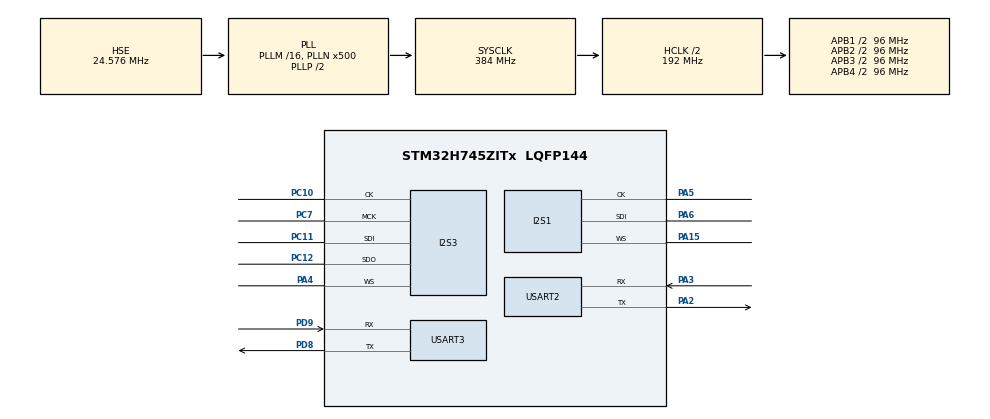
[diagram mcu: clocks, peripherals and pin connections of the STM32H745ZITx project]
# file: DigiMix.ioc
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CORTEX_M7.AccessPermission-Cortex_Memory_Protection_Unit_Region0_Settings=MPU_REGION_FULL_ACCESS
CORTEX_M7.BaseAddress-Cortex_Memory_Protection_Unit_Region0_Settings=0x30010000
CORTEX_M7.CPU_DCache=Enabled
CORTEX_M7.CPU_ICache=Enabled
CORTEX_M7.DisableExec-Cortex_Memory_Protection_Unit_Region0_Settings=MPU_INSTRUCTION_ACCESS_DISABLE
CORTEX_M7.Enable-Cortex_Memory_Protection_Unit_Region0_Settings=MPU_REGION_ENABLE
CORTEX_M7.IsBufferable-Cortex_Memory_Protection_Unit_Region0_Settings=MPU_ACCESS_BUFFERABLE
CORTEX_M7.MPU_Control=MPU_PRIVILEGED_DEFAULT
CORTEX_M7.Size-Cortex_Memory_Protection_Unit_Region0_Settings=MPU_REGION_SIZE_64KB
CortexM4.IPs=BDMA,CORTEX_M4\:I,DEBUG,DMA,FATFS_M4\:I,FREERTOS_M4\:I,GPIO,IWDG2\:I,MDMA,NVIC2\:I,OPENAMP_M4\:I,PDM2PCM_M4\:I,PWR,RCC,RESMGR_UTILITY,SYS_M4\:I,USB_DEVICE_M4\:I,USB_HOST_M4\:I,VREFBUF,WWDG2\:I
CortexM7.IPs=BDMA\:I,CORTEX_M7\:I,DEBUG\:I,DMA\:I,FATFS_M7\:I,FREERTOS_M7\:I,GPIO\:I,IWDG1\:I,MDMA\:I,NVIC1\:I,OPENAMP_M7\:I,PDM2PCM_M7\:I,PWR\:I,RCC\:I,RESMGR_UTILITY\:I,SYS\:I,USB_DEVICE_M7\:I,USB_HOST_M7\:I,VREFBUF\:I,WWDG1\:I,I2S3\:I,USART3\:I,TIM1\:I,I2S1\:I,USART2\:I
Dma.Request0=SPI3_RX
Dma.Request1=SPI3_TX
Dma.Request2=USART3_RX
Dma.Request3=USART3_TX
Dma.Request4=USART2_RX
Dma.Request5=USART2_TX
Dma.SPI3_RX.0.Direction=DMA_PERIPH_TO_MEMORY
Dma.SPI3_RX.0.EventEnable=DISABLE
Dma.SPI3_RX.0.FIFOMode=DMA_FIFOMODE_DISABLE
Dma.SPI3_RX.0.Instance=DMA1_Stream0
Dma.SPI3_RX.0.MemDataAlignment=DMA_MDATAALIGN_WORD
Dma.SPI3_RX.0.MemInc=DMA_MINC_ENABLE
Dma.SPI3_RX.0.Mode=DMA_CIRCULAR
Dma.SPI3_RX.0.PeriphDataAlignment=DMA_PDATAALIGN_WORD
Dma.SPI3_RX.0.PeriphInc=DMA_PINC_DISABLE
Dma.SPI3_RX.0.Polarity=HAL_DMAMUX_REQ_GEN_RISING
Dma.SPI3_RX.0.Priority=DMA_PRIORITY_VERY_HIGH
Dma.SPI3_RX.0.RequestNumber=1
Dma.SPI3_RX.0.SignalID=NONE
Dma.SPI3_RX.0.SyncEnable=DISABLE
Dma.SPI3_RX.0.SyncPolarity=HAL_DMAMUX_SYNC_NO_EVENT
Dma.SPI3_RX.0.SyncRequestNumber=1
Dma.SPI3_RX.0.SyncSignalID=NONE
Dma.SPI3_TX.1.Direction=DMA_MEMORY_TO_PERIPH
Dma.SPI3_TX.1.EventEnable=DISABLE
Dma.SPI3_TX.1.FIFOMode=DMA_FIFOMODE_DISABLE
Dma.SPI3_TX.1.Instance=DMA1_Stream1
Dma.SPI3_TX.1.MemDataAlignment=DMA_MDATAALIGN_WORD
Dma.SPI3_TX.1.MemInc=DMA_MINC_ENABLE
Dma.SPI3_TX.1.Mode=DMA_CIRCULAR
Dma.SPI3_TX.1.PeriphDataAlignment=DMA_PDATAALIGN_WORD
Dma.SPI3_TX.1.PeriphInc=DMA_PINC_DISABLE
Dma.SPI3_TX.1.Polarity=HAL_DMAMUX_REQ_GEN_RISING
Dma.SPI3_TX.1.Priority=DMA_PRIORITY_VERY_HIGH
Dma.SPI3_TX.1.RequestNumber=1
Dma.SPI3_TX.1.SignalID=NONE
Dma.SPI3_TX.1.SyncEnable=DISABLE
Dma.SPI3_TX.1.SyncPolarity=HAL_DMAMUX_SYNC_NO_EVENT
Dma.SPI3_TX.1.SyncRequestNumber=1
Dma.SPI3_TX.1.SyncSignalID=NONE
Dma.USART2_RX.4.Direction=DMA_PERIPH_TO_MEMORY
Dma.USART2_RX.4.EventEnable=DISABLE
Dma.USART2_RX.4.FIFOMode=DMA_FIFOMODE_DISABLE
Dma.USART2_RX.4.Instance=DMA2_Stream6
Dma.USART2_RX.4.MemDataAlignment=DMA_MDATAALIGN_BYTE
Dma.USART2_RX.4.MemInc=DMA_MINC_ENABLE
Dma.USART2_RX.4.Mode=DMA_CIRCULAR
Dma.USART2_RX.4.PeriphDataAlignment=DMA_PDATAALIGN_BYTE
Dma.USART2_RX.4.PeriphInc=DMA_PINC_DISABLE
Dma.USART2_RX.4.Polarity=HAL_DMAMUX_REQ_GEN_RISING
Dma.USART2_RX.4.Priority=DMA_PRIORITY_VERY_HIGH
Dma.USART2_RX.4.RequestNumber=1
Dma.USART2_RX.4.SignalID=NONE
Dma.USART2_RX.4.SyncEnable=DISABLE
Dma.USART2_RX.4.SyncPolarity=HAL_DMAMUX_SYNC_NO_EVENT
Dma.USART2_RX.4.SyncRequestNumber=1
Dma.USART2_RX.4.SyncSignalID=NONE
Dma.USART2_TX.5.Direction=DMA_MEMORY_TO_PERIPH
Dma.USART2_TX.5.EventEnable=DISABLE
Dma.USART2_TX.5.FIFOMode=DMA_FIFOMODE_DISABLE
Dma.USART2_TX.5.Instance=DMA2_Stream7
Dma.USART2_TX.5.MemDataAlignment=DMA_MDATAALIGN_BYTE
Dma.USART2_TX.5.MemInc=DMA_MINC_ENABLE
Dma.USART2_TX.5.Mode=DMA_CIRCULAR
Dma.USART2_TX.5.PeriphDataAlignment=DMA_PDATAALIGN_BYTE
Dma.USART2_TX.5.PeriphInc=DMA_PINC_DISABLE
Dma.USART2_TX.5.Polarity=HAL_DMAMUX_REQ_GEN_RISING
Dma.USART2_TX.5.Priority=DMA_PRIORITY_VERY_HIGH
Dma.USART2_TX.5.RequestNumber=1
Dma.USART2_TX.5.SignalID=NONE
Dma.USART2_TX.5.SyncEnable=DISABLE
Dma.USART2_TX.5.SyncPolarity=HAL_DMAMUX_SYNC_NO_EVENT
Dma.USART2_TX.5.SyncRequestNumber=1
Dma.USART2_TX.5.SyncSignalID=NONE
Dma.USART3_RX.2.Direction=DMA_PERIPH_TO_MEMORY
Dma.USART3_RX.2.EventEnable=DISABLE
Dma.USART3_RX.2.FIFOMode=DMA_FIFOMODE_DISABLE
Dma.USART3_RX.2.Instance=DMA1_Stream5
Dma.USART3_RX.2.MemDataAlignment=DMA_MDATAALIGN_BYTE
Dma.USART3_RX.2.MemInc=DMA_MINC_ENABLE
Dma.USART3_RX.2.Mode=DMA_CIRCULAR
Dma.USART3_RX.2.PeriphDataAlignment=DMA_PDATAALIGN_BYTE
Dma.USART3_RX.2.PeriphInc=DMA_PINC_DISABLE
Dma.USART3_RX.2.Polarity=HAL_DMAMUX_REQ_GEN_RISING
Dma.USART3_RX.2.Priority=DMA_PRIORITY_VERY_HIGH
Dma.USART3_RX.2.RequestNumber=1
Dma.USART3_RX.2.SignalID=NONE
Dma.USART3_RX.2.SyncEnable=DISABLE
Dma.USART3_RX.2.SyncPolarity=HAL_DMAMUX_SYNC_NO_EVENT
Dma.USART3_RX.2.SyncRequestNumber=1
Dma.USART3_RX.2.SyncSignalID=NONE
Dma.USART3_TX.3.Direction=DMA_MEMORY_TO_PERIPH
Dma.USART3_TX.3.EventEnable=DISABLE
Dma.USART3_TX.3.FIFOMode=DMA_FIFOMODE_DISABLE
Dma.USART3_TX.3.Instance=DMA1_Stream4
Dma.USART3_TX.3.MemDataAlignment=DMA_MDATAALIGN_BYTE
Dma.USART3_TX.3.MemInc=DMA_MINC_ENABLE
Dma.USART3_TX.3.Mode=DMA_NORMAL
Dma.USART3_TX.3.PeriphDataAlignment=DMA_PDATAALIGN_BYTE
Dma.USART3_TX.3.PeriphInc=DMA_PINC_DISABLE
Dma.USART3_TX.3.Polarity=HAL_DMAMUX_REQ_GEN_RISING
Dma.USART3_TX.3.Priority=DMA_PRIORITY_VERY_HIGH
Dma.USART3_TX.3.RequestNumber=1
Dma.USART3_TX.3.SignalID=NONE
Dma.USART3_TX.3.SyncEnable=DISABLE
Dma.USART3_TX.3.SyncPolarity=HAL_DMAMUX_SYNC_NO_EVENT
Dma.USART3_TX.3.SyncRequestNumber=1
Dma.USART3_TX.3.SyncSignalID=NONE
FREERTOS_M7.BinarySemaphores01=i2sHalfFull,Dynamic,NULL;i2sFull,Dynamic,NULL;uartFull,Dynamic,NULL
FREERTOS_M7.Queues01=uartQueue,16,uint16_t,0,Dynamic,NULL,NULL
FREERTOS_M7.Tasks01=filterTask,24,128,setFilterTask,Default,NULL,Dynamic,NULL,NULL;processData,32,256,processDataTask,Default,NULL,Dynamic,NULL,NULL
FREERTOS_M7.configENABLE_FPU=1
I2S1.ErrorAudioFreq=0.0 %
I2S1.Instance=SPI$Index
I2S1.RealAudioFreq=8.0 KHz
I2S3.AudioFreq=I2S_AUDIOFREQ_48K
I2S3.DataFormat=I2S_DATAFORMAT_16B_EXTENDED
I2S3.ErrorAudioFreq=0.0 %
I2S3.Instance=SPI$Index
I2S3.RealAudioFreq=48.0 KHz
Mcu.Family=STM32H7
Mcu.Name=STM32H745ZITx
Mcu.Package=LQFP144
NVIC1.DMA1_Stream0_IRQn=true\:5\:0\:false\:false\:true\:true\:false\:true\:true
NVIC1.DMA1_Stream1_IRQn=true\:5\:0\:false\:false\:true\:true\:false\:true\:true
NVIC1.DMA1_Stream4_IRQn=true\:5\:0\:false\:false\:true\:false\:false\:true\:true
NVIC1.DMA1_Stream5_IRQn=true\:5\:0\:false\:false\:true\:false\:false\:true\:true
NVIC1.DMA2_Stream6_IRQn=true\:0\:0\:false\:false\:true\:false\:false\:true\:true
NVIC1.DMA2_Stream7_IRQn=true\:0\:0\:false\:false\:true\:false\:false\:true\:true
NVIC1.PriorityGroup=NVIC_PRIORITYGROUP_4
NVIC1.TIM1_UP_IRQn=true\:15\:0\:false\:false\:true\:false\:false\:true\:true
NVIC1.TimeBase=TIM1_UP_IRQn
NVIC1.TimeBaseIP=TIM1
NVIC2.PriorityGroup=NVIC_PRIORITYGROUP_4
PA15\ (JTDI).Mode=Half_Duplex_Slave_Rx
PA15\ (JTDI).PinAttribute=CortexM7
PA15\ (JTDI).Signal=I2S1_WS
PA2.Mode=Asynchronous
PA2.PinAttribute=CortexM7
PA2.Signal=USART2_TX
PA3.Mode=Asynchronous
PA3.PinAttribute=CortexM7
PA3.Signal=USART2_RX
PA4.Mode=Full_Duplex_Master
PA4.PinAttribute=CortexM7
PA4.Signal=I2S3_WS
PA5.Mode=Half_Duplex_Slave_Rx
PA5.PinAttribute=CortexM7
PA5.Signal=I2S1_CK
PA6.Mode=Half_Duplex_Slave_Rx
PA6.PinAttribute=CortexM7
PA6.Signal=I2S1_SDI
PC10.Mode=Full_Duplex_Master
PC10.PinAttribute=CortexM7
PC10.Signal=I2S3_CK
PC11.Mode=Full_Duplex_Master
PC11.PinAttribute=CortexM7
PC11.Signal=I2S3_SDI
PC12.Mode=Full_Duplex_Master
PC12.PinAttribute=CortexM7
PC12.Signal=I2S3_SDO
PC7.Mode=Master_Clock_Activated
PC7.PinAttribute=CortexM7
PC7.Signal=I2S3_MCK
PD8.Mode=Asynchronous
PD8.PinAttribute=CortexM7
PD8.Signal=USART3_TX
PD9.Mode=Asynchronous
PD9.PinAttribute=CortexM7
PD9.Signal=USART3_RX
PH0-OSC_IN\ (PH0).Mode=HSE-External-Clock-Source
PH0-OSC_IN\ (PH0).PinAttribute=Free
PH0-OSC_IN\ (PH0).Signal=RCC_OSC_IN
ProjectManager.HeapSize=M4-0x200,M7-0x200
ProjectManager.StackSize=M4-0x400,M7-0x400
ProjectManager.TargetToolchain=STM32CubeIDE
RCC.ADCFreq_Value=24576000
RCC.APB1Freq_Value=96000000
RCC.APB2Freq_Value=96000000
RCC.APB3Freq_Value=96000000
RCC.APB4Freq_Value=96000000
RCC.CortexFreq_Value=384000000
RCC.D1PPRE=RCC_APB3_DIV2
RCC.D2PPRE1=RCC_APB1_DIV2
RCC.D2PPRE2=RCC_APB2_DIV2
RCC.D3PPRE=RCC_APB4_DIV2
RCC.DIVM1=16
RCC.DIVM2=16
RCC.DIVN1=500
RCC.DIVN2=128
RCC.DIVP2=8
RCC.DIVQ2=8
RCC.HCLKFreq_Value=192000000
RCC.HPRE=RCC_HCLK_DIV2
RCC.HSE_VALUE=24576000
RCC.PLLSourceVirtual=RCC_PLLSOURCE_HSE
RCC.SPI123CLockSelection=RCC_SPI123CLKSOURCE_PLL2
RCC.SYSCLKFreq_VALUE=384000000
RCC.SYSCLKSource=RCC_SYSCLKSOURCE_PLLCLK
RCC.USART234578CLockSelection=RCC_USART234578CLKSOURCE_CSI
RCC.USBFreq_Value=384000000
SYS.userName=SYS_M7
USART2.VirtualMode-Asynchronous=VM_ASYNC
USART3.VirtualMode-Asynchronous=VM_ASYNC
VP_FREERTOS_M7_VS_CMSIS_V2.Mode=CMSIS_V2
VP_SYS_VS_tim1.Mode=TIM1
board=custom

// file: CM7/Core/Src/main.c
/* USER CODE BEGIN Header */
	/**
	  ******************************************************************************
	  * @file           : main.c
	  * @brief          : Main program body
	  ******************************************************************************
	  * @attention
	  *
	  * Copyright (c) 2024 STMicroelectronics.
	  * All rights reserved.
	  *
	  * This software is licensed under terms that can be found in the LICENSE file
	  * in the root directory of this software component.
	  * If no LICENSE file comes with this software, it is provided AS-IS.
	  *
	  ******************************************************************************
	  */
/* USER CODE END Header */
#include "main.h"
#include "cmsis_os.h"

/* USER CODE BEGIN Includes */
	#include <string.h>
	#include <math.h>
	#include <stdlib.h>
	#include <stdarg.h>
	#include <stdbool.h>

	#include "IFX_PeakingFilter.h"
/* USER CODE END Includes */

/* USER CODE BEGIN PTD */
	#define FLOAT_TO_INT24(value) ((int32_t)((value) * 8388608.0f))  // Scale the float value to 16-bit range
	#define FLOAT_TO_INT16(value) ((int16_t)((value) * 32767.0f))  // Scale the float value to 16-bit range
	#define INT16_TO_FLOAT(value) ((float)(value) / 32767.0f)       // Convert from int16_t to float
	#define INT24_TO_FLOAT(value) ((float)(value) / 8388608.0f) // 24-bit to float

	#define ARRAY_LEN(x)            (sizeof(x) / sizeof((x)[0]))

	#define SAMPLE_RATE_HZ 48000.0f

	//192
	#define BUFFER_SIZE 192
/* USER CODE END PTD */

/* USER CODE BEGIN PD */

	#ifndef HSEM_ID_0
	#define HSEM_ID_0 (0U) /* HW semaphore 0*/
	#endif

/* USER CODE END PD */

I2S_HandleTypeDef hi2s1;
I2S_HandleTypeDef hi2s3;
DMA_HandleTypeDef hdma_spi3_rx;
DMA_HandleTypeDef hdma_spi3_tx;

UART_HandleTypeDef huart2;
UART_HandleTypeDef huart3;
DMA_HandleTypeDef hdma_usart2_rx;
DMA_HandleTypeDef hdma_usart2_tx;
DMA_HandleTypeDef hdma_usart3_rx;
DMA_HandleTypeDef hdma_usart3_tx;

/* Definitions for filterTask */
osThreadId_t filterTaskHandle;
const osThreadAttr_t filterTask_attributes = {
  .name = "filterTask",
  .stack_size = 128 * 4,
  .priority = (osPriority_t) osPriorityNormal,
};
/* Definitions for processData */
osThreadId_t processDataHandle;
const osThreadAttr_t processData_attributes = {
  .name = "processData",
  .stack_size = 256 * 4,
  .priority = (osPriority_t) osPriorityAboveNormal,
};
/* Definitions for uartQueue */
osMessageQueueId_t uartQueueHandle;
const osMessageQueueAttr_t uartQueue_attributes = {
  .name = "uartQueue"
};
/* Definitions for i2sHalfFull */
osSemaphoreId_t i2sHalfFullHandle;
const osSemaphoreAttr_t i2sHalfFull_attributes = {
  .name = "i2sHalfFull"
};
/* Definitions for i2sFull */
osSemaphoreId_t i2sFullHandle;
const osSemaphoreAttr_t i2sFull_attributes = {
  .name = "i2sFull"
};
/* Definitions for uartFull */
osSemaphoreId_t uartFullHandle;
const osSemaphoreAttr_t uartFull_attributes = {
  .name = "uartFull"
};
/* USER CODE BEGIN PV */
	typedef struct {
		uint16_t centerFrequency;
		float qFactor;
		float gain;
	} FilterParams;

	// CH1 & CH2
	__attribute__ ((section(".rxBuffer1"), used)) __attribute__ ((aligned (32))) uint16_t adcData[BUFFER_SIZE*2] = {0};
	__attribute__ ((section(".txBuffer1"), used)) __attribute__ ((aligned (32))) uint16_t dacData[BUFFER_SIZE*2] = {0};

	__attribute__ ((section(".txUARTBuffer1"), used)) __attribute__ ((aligned (32))) uint16_t uartBuffer[BUFFER_SIZE*2] = {0};

	// CH3 & CH4
	//__attribute__ ((section(".rxBuffer2"), used)) __attribute__ ((aligned (32))) uint16_t adcData2[BUFFER_SIZE*2] = {0};
	//__attribute__ ((section(".txBuffer2"), used)) __attribute__ ((aligned (32))) uint16_t dacData2[BUFFER_SIZE*2] = {0};

	// UART
	__attribute__ ((section(".rxUARTBuffer"), used)) __attribute__ ((aligned (32))) uint8_t uartData[65] = {0};

	static volatile uint16_t *inBufPtr;
	static volatile uint16_t *outBufPtr = &dacData[0];

	uint8_t dataReadyFlag;

	float vch1 = 1.0f;
	float vch2 = 1.0f;
	float vmaster = 1.0f;

	IFX_PeakingFilter filt1;
	IFX_PeakingFilter filt2;
	IFX_PeakingFilter filt3;
	IFX_PeakingFilter filt4;
	IFX_PeakingFilter filt5;
	IFX_PeakingFilter filt6;

/* USER CODE END PV */

void SystemClock_Config(void);
void PeriphCommonClock_Config(void);
static void MPU_Config(void);
static void MX_GPIO_Init(void);
static void MX_DMA_Init(void);
static void MX_I2S3_Init(void);
static void MX_USART3_UART_Init(void);
static void MX_I2S1_Init(void);
static void MX_USART2_UART_Init(void);
void setFilterTask(void *argument);
void processDataTask(void *argument);

/* USER CODE BEGIN PFP */
	void UART_Printf(const char* fmt, ...);
	void processData();
/* USER CODE END PFP */

int main(void)
{
/* USER CODE BEGIN Boot_Mode_Sequence_0 */
	  int32_t timeout;
/* USER CODE END Boot_Mode_Sequence_0 */

  /* MPU Configuration--------------------------------------------------------*/
  MPU_Config();

  /* Enable I-Cache---------------------------------------------------------*/
  SCB_EnableICache();

  /* Enable D-Cache---------------------------------------------------------*/
  SCB_EnableDCache();

/* USER CODE BEGIN Boot_Mode_Sequence_1 */
	  /* Wait until CPU2 boots and enters in stop mode or timeout*/
	  timeout = 0xFFFF;
	  while((__HAL_RCC_GET_FLAG(RCC_FLAG_D2CKRDY) != RESET) && (timeout-- > 0));
	  if ( timeout < 0 )
	  {
	  Error_Handler();
	  }
/* USER CODE END Boot_Mode_Sequence_1 */
  /* MCU Configuration--------------------------------------------------------*/

  /* Reset of all peripherals, Initializes the Flash interface and the Systick. */
  HAL_Init();

  /* Configure the system clock */
  SystemClock_Config();

/* Configure the peripherals common clocks */
  PeriphCommonClock_Config();
/* USER CODE BEGIN Boot_Mode_Sequence_2 */
	/* When system initialization is finished, Cortex-M7 will release Cortex-M4 by means of
	HSEM notification */
	/*HW semaphore Clock enable*/
	__HAL_RCC_HSEM_CLK_ENABLE();
	/*Take HSEM */
	HAL_HSEM_FastTake(HSEM_ID_0);
	/*Release HSEM in order to notify the CPU2(CM4)*/
	HAL_HSEM_Release(HSEM_ID_0,0);
	/* wait until CPU2 wakes up from stop mode */
	timeout = 0xFFFF;
	while((__HAL_RCC_GET_FLAG(RCC_FLAG_D2CKRDY) == RESET) && (timeout-- > 0));
	if ( timeout < 0 )
	{
	Error_Handler();
	}
/* USER CODE END Boot_Mode_Sequence_2 */

  /* Initialize all configured peripherals */
  MX_GPIO_Init();
  MX_DMA_Init();
  MX_I2S3_Init();
  MX_USART3_UART_Init();
  MX_I2S1_Init();
  MX_USART2_UART_Init();
  /* USER CODE BEGIN 2 */
	  memset(dacData, 0, sizeof(dacData));

	  IFX_PeakingFilter_Init(&filt1, SAMPLE_RATE_HZ);
	  IFX_PeakingFilter_Init(&filt2, SAMPLE_RATE_HZ);
	  IFX_PeakingFilter_Init(&filt3, SAMPLE_RATE_HZ);
	  //  IFX_PeakingFilter_Init(&filt4, SAMPLE_RATE_HZ);
	  //  IFX_PeakingFilter_Init(&filt5, SAMPLE_RATE_HZ);

	  UART_Printf("Readyy!\r\n");

	  // CH1
	  IFX_PeakingFilter_SetParameters(&filt1, 1.0f, 1.0f, 1.0f);
	  IFX_PeakingFilter_SetParameters(&filt2, 1.0f, 1.0f, 1.0f);
	  IFX_PeakingFilter_SetParameters(&filt3, 1.0f, 1.0f, 1.0f);

	  // CH2
	  IFX_PeakingFilter_SetParameters(&filt4, 1.0f, 1.0f, 1.0f);
	  IFX_PeakingFilter_SetParameters(&filt5, 1.0f, 1.0f, 1.0f);
	  IFX_PeakingFilter_SetParameters(&filt6, 1.0f, 1.0f, 1.0f);

	  if (HAL_I2SEx_TransmitReceive_DMA(&hi2s3, (uint16_t *) dacData, (uint16_t *) adcData, BUFFER_SIZE) != HAL_OK) {
		UART_Printf("I2S Full-Duplex DMA initialization failed\n");
		Error_Handler();
	  }

	  if (HAL_UART_Receive_DMA(&huart2, uartData, sizeof(uartData)) != HAL_OK) {
		UART_Printf("UART DMA Receive initialization failed\n");
		Error_Handler();
	  }

//	  if (HAL_UART_Transmit_DMA(&huart3, (uint8_t *)uartBuffer, sizeof(uartBuffer)) != HAL_OK) {
//	    UART_Printf("UART DMA Transmit initialization failed\n");
//		Error_Handler();
//	  }

  /* USER CODE END 2 */

  /* Init scheduler */
  osKernelInitialize();

  /* Create the semaphores(s) */
  /* creation of i2sHalfFull */
  i2sHalfFullHandle = osSemaphoreNew(1, 1, &i2sHalfFull_attributes);

  /* creation of i2sFull */
  i2sFullHandle = osSemaphoreNew(1, 1, &i2sFull_attributes);

  /* creation of uartFull */
  uartFullHandle = osSemaphoreNew(1, 1, &uartFull_attributes);

  /* USER CODE BEGIN RTOS_SEMAPHORES */
	  /* add semaphores, ... */
	  //osSemaphoreAcquire(uartFullHandle, 0);
	  //osSemaphoreAcquire(i2sHalfFullHandle, 0);
	  //osSemaphoreAcquire(i2sFullHandle, 0);
  /* USER CODE END RTOS_SEMAPHORES */

  /* Create the queue(s) */
  /* creation of uartQueue */
  uartQueueHandle = osMessageQueueNew (16, sizeof(uint16_t), &uartQueue_attributes);

  /* Create the thread(s) */
  /* creation of filterTask */
  filterTaskHandle = osThreadNew(setFilterTask, NULL, &filterTask_attributes);

  /* creation of processData */
  processDataHandle = osThreadNew(processDataTask, NULL, &processData_attributes);

  /* Start scheduler */
  osKernelStart();
  /* We should never get here as control is now taken by the scheduler */
  /* Infinite loop */
	  while (1)
	  {

	  }
}

void SystemClock_Config(void)
{
  RCC_OscInitTypeDef RCC_OscInitStruct = {0};
  RCC_ClkInitTypeDef RCC_ClkInitStruct = {0};

  /** Supply configuration update enable
  */
  HAL_PWREx_ConfigSupply(PWR_DIRECT_SMPS_SUPPLY);

  /** Configure the main internal regulator output voltage
  */
  __HAL_PWR_VOLTAGESCALING_CONFIG(PWR_REGULATOR_VOLTAGE_SCALE1);

  while(!__HAL_PWR_GET_FLAG(PWR_FLAG_VOSRDY)) {}

  /** Initializes the RCC Oscillators according to the specified parameters
  * in the RCC_OscInitTypeDef structure.
  */
  RCC_OscInitStruct.OscillatorType = RCC_OSCILLATORTYPE_CSI|RCC_OSCILLATORTYPE_HSE;
  RCC_OscInitStruct.HSEState = RCC_HSE_BYPASS;
  RCC_OscInitStruct.CSIState = RCC_CSI_ON;
  RCC_OscInitStruct.CSICalibrationValue = RCC_CSICALIBRATION_DEFAULT;
  RCC_OscInitStruct.PLL.PLLState = RCC_PLL_ON;
  RCC_OscInitStruct.PLL.PLLSource = RCC_PLLSOURCE_HSE;
  RCC_OscInitStruct.PLL.PLLM = 16;
  RCC_OscInitStruct.PLL.PLLN = 500;
  RCC_OscInitStruct.PLL.PLLP = 2;
  RCC_OscInitStruct.PLL.PLLQ = 2;
  RCC_OscInitStruct.PLL.PLLR = 2;
  RCC_OscInitStruct.PLL.PLLRGE = RCC_PLL1VCIRANGE_0;
  RCC_OscInitStruct.PLL.PLLVCOSEL = RCC_PLL1VCOWIDE;
  RCC_OscInitStruct.PLL.PLLFRACN = 0;
  if (HAL_RCC_OscConfig(&RCC_OscInitStruct) != HAL_OK)
  {
    Error_Handler();
  }

  /** Initializes the CPU, AHB and APB buses clocks
  */
  RCC_ClkInitStruct.ClockType = RCC_CLOCKTYPE_HCLK|RCC_CLOCKTYPE_SYSCLK
                              |RCC_CLOCKTYPE_PCLK1|RCC_CLOCKTYPE_PCLK2
                              |RCC_CLOCKTYPE_D3PCLK1|RCC_CLOCKTYPE_D1PCLK1;
  RCC_ClkInitStruct.SYSCLKSource = RCC_SYSCLKSOURCE_PLLCLK;
  RCC_ClkInitStruct.SYSCLKDivider = RCC_SYSCLK_DIV1;
  RCC_ClkInitStruct.AHBCLKDivider = RCC_HCLK_DIV2;
  RCC_ClkInitStruct.APB3CLKDivider = RCC_APB3_DIV2;
  RCC_ClkInitStruct.APB1CLKDivider = RCC_APB1_DIV2;
  RCC_ClkInitStruct.APB2CLKDivider = RCC_APB2_DIV2;
  RCC_ClkInitStruct.APB4CLKDivider = RCC_APB4_DIV2;

  if (HAL_RCC_ClockConfig(&RCC_ClkInitStruct, FLASH_LATENCY_2) != HAL_OK)
  {
    Error_Handler();
  }
}

void PeriphCommonClock_Config(void)
{
  RCC_PeriphCLKInitTypeDef PeriphClkInitStruct = {0};

  /** Initializes the peripherals clock
  */
  PeriphClkInitStruct.PeriphClockSelection = RCC_PERIPHCLK_SPI3|RCC_PERIPHCLK_SPI1;
  PeriphClkInitStruct.PLL2.PLL2M = 16;
  PeriphClkInitStruct.PLL2.PLL2N = 128;
  PeriphClkInitStruct.PLL2.PLL2P = 8;
  PeriphClkInitStruct.PLL2.PLL2Q = 8;
  PeriphClkInitStruct.PLL2.PLL2R = 2;
  PeriphClkInitStruct.PLL2.PLL2RGE = RCC_PLL2VCIRANGE_0;
  PeriphClkInitStruct.PLL2.PLL2VCOSEL = RCC_PLL2VCOWIDE;
  PeriphClkInitStruct.PLL2.PLL2FRACN = 0;
  PeriphClkInitStruct.Spi123ClockSelection = RCC_SPI123CLKSOURCE_PLL2;
  if (HAL_RCCEx_PeriphCLKConfig(&PeriphClkInitStruct) != HAL_OK)
  {
    Error_Handler();
  }
}

static void MX_I2S1_Init(void)
{

  hi2s1.Instance = SPI1;
  hi2s1.Init.Mode = I2S_MODE_SLAVE_RX;
  hi2s1.Init.Standard = I2S_STANDARD_PHILIPS;
  hi2s1.Init.DataFormat = I2S_DATAFORMAT_16B;
  hi2s1.Init.MCLKOutput = I2S_MCLKOUTPUT_DISABLE;
  hi2s1.Init.AudioFreq = I2S_AUDIOFREQ_8K;
  hi2s1.Init.CPOL = I2S_CPOL_LOW;
  hi2s1.Init.FirstBit = I2S_FIRSTBIT_MSB;
  hi2s1.Init.WSInversion = I2S_WS_INVERSION_DISABLE;
  hi2s1.Init.Data24BitAlignment = I2S_DATA_24BIT_ALIGNMENT_RIGHT;
  hi2s1.Init.MasterKeepIOState = I2S_MASTER_KEEP_IO_STATE_DISABLE;
  if (HAL_I2S_Init(&hi2s1) != HAL_OK)
  {
    Error_Handler();
  }

}

static void MX_I2S3_Init(void)
{

  hi2s3.Instance = SPI3;
  hi2s3.Init.Mode = I2S_MODE_MASTER_FULLDUPLEX;
  hi2s3.Init.Standard = I2S_STANDARD_PHILIPS;
  hi2s3.Init.DataFormat = I2S_DATAFORMAT_16B_EXTENDED;
  hi2s3.Init.MCLKOutput = I2S_MCLKOUTPUT_ENABLE;
  hi2s3.Init.AudioFreq = I2S_AUDIOFREQ_48K;
  hi2s3.Init.CPOL = I2S_CPOL_LOW;
  hi2s3.Init.FirstBit = I2S_FIRSTBIT_MSB;
  hi2s3.Init.WSInversion = I2S_WS_INVERSION_DISABLE;
  hi2s3.Init.Data24BitAlignment = I2S_DATA_24BIT_ALIGNMENT_RIGHT;
  hi2s3.Init.MasterKeepIOState = I2S_MASTER_KEEP_IO_STATE_DISABLE;
  if (HAL_I2S_Init(&hi2s3) != HAL_OK)
  {
    Error_Handler();
  }

}

static void MX_USART2_UART_Init(void)
{

  huart2.Instance = USART2;
  huart2.Init.BaudRate = 115200;
  huart2.Init.WordLength = UART_WORDLENGTH_8B;
  huart2.Init.StopBits = UART_STOPBITS_1;
  huart2.Init.Parity = UART_PARITY_NONE;
  huart2.Init.Mode = UART_MODE_TX_RX;
  huart2.Init.HwFlowCtl = UART_HWCONTROL_NONE;
  huart2.Init.OverSampling = UART_OVERSAMPLING_16;
  huart2.Init.OneBitSampling = UART_ONE_BIT_SAMPLE_DISABLE;
  huart2.Init.ClockPrescaler = UART_PRESCALER_DIV1;
  huart2.AdvancedInit.AdvFeatureInit = UART_ADVFEATURE_NO_INIT;
  if (HAL_UART_Init(&huart2) != HAL_OK)
  {
    Error_Handler();
  }
  if (HAL_UARTEx_SetTxFifoThreshold(&huart2, UART_TXFIFO_THRESHOLD_1_8) != HAL_OK)
  {
    Error_Handler();
  }
  if (HAL_UARTEx_SetRxFifoThreshold(&huart2, UART_RXFIFO_THRESHOLD_1_8) != HAL_OK)
  {
    Error_Handler();
  }
  if (HAL_UARTEx_DisableFifoMode(&huart2) != HAL_OK)
  {
    Error_Handler();
  }

}

static void MX_USART3_UART_Init(void)
{

  huart3.Instance = USART3;
  huart3.Init.BaudRate = 115200;
  huart3.Init.WordLength = UART_WORDLENGTH_8B;
  huart3.Init.StopBits = UART_STOPBITS_1;
  huart3.Init.Parity = UART_PARITY_NONE;
  huart3.Init.Mode = UART_MODE_TX_RX;
  huart3.Init.HwFlowCtl = UART_HWCONTROL_NONE;
  huart3.Init.OverSampling = UART_OVERSAMPLING_16;
  huart3.Init.OneBitSampling = UART_ONE_BIT_SAMPLE_DISABLE;
  huart3.Init.ClockPrescaler = UART_PRESCALER_DIV1;
  huart3.AdvancedInit.AdvFeatureInit = UART_ADVFEATURE_NO_INIT;
  if (HAL_UART_Init(&huart3) != HAL_OK)
  {
    Error_Handler();
  }
  if (HAL_UARTEx_SetTxFifoThreshold(&huart3, UART_TXFIFO_THRESHOLD_1_8) != HAL_OK)
  {
    Error_Handler();
  }
  if (HAL_UARTEx_SetRxFifoThreshold(&huart3, UART_RXFIFO_THRESHOLD_1_8) != HAL_OK)
  {
    Error_Handler();
  }
  if (HAL_UARTEx_DisableFifoMode(&huart3) != HAL_OK)
  {
    Error_Handler();
  }

}

static void MX_DMA_Init(void)
{

  /* DMA controller clock enable */
  __HAL_RCC_DMA1_CLK_ENABLE();
  __HAL_RCC_DMA2_CLK_ENABLE();

  /* DMA interrupt init */
  /* DMA1_Stream0_IRQn interrupt configuration */
  HAL_NVIC_SetPriority(DMA1_Stream0_IRQn, 5, 0);
  HAL_NVIC_EnableIRQ(DMA1_Stream0_IRQn);
  /* DMA1_Stream1_IRQn interrupt configuration */
  HAL_NVIC_SetPriority(DMA1_Stream1_IRQn, 5, 0);
  HAL_NVIC_EnableIRQ(DMA1_Stream1_IRQn);
  /* DMA1_Stream4_IRQn interrupt configuration */
  HAL_NVIC_SetPriority(DMA1_Stream4_IRQn, 5, 0);
  HAL_NVIC_EnableIRQ(DMA1_Stream4_IRQn);
  /* DMA1_Stream5_IRQn interrupt configuration */
  HAL_NVIC_SetPriority(DMA1_Stream5_IRQn, 5, 0);
  HAL_NVIC_EnableIRQ(DMA1_Stream5_IRQn);
  /* DMA2_Stream6_IRQn interrupt configuration */
  HAL_NVIC_SetPriority(DMA2_Stream6_IRQn, 0, 0);
  HAL_NVIC_EnableIRQ(DMA2_Stream6_IRQn);
  /* DMA2_Stream7_IRQn interrupt configuration */
  HAL_NVIC_SetPriority(DMA2_Stream7_IRQn, 0, 0);
  HAL_NVIC_EnableIRQ(DMA2_Stream7_IRQn);

}

static void MX_GPIO_Init(void)
{

  /* GPIO Ports Clock Enable */
  __HAL_RCC_GPIOA_CLK_ENABLE();
  __HAL_RCC_GPIOD_CLK_ENABLE();
  __HAL_RCC_GPIOC_CLK_ENABLE();

}

/* USER CODE BEGIN 4 */
	void UART_Printf(const char* fmt, ...) {
	  char buff[256];
	  va_list args;
	  va_start(args, fmt);
	  vsnprintf(buff, sizeof(buff), fmt, args);
	  HAL_UART_Transmit(&huart3, (uint8_t*)buff, strlen(buff), HAL_MAX_DELAY);
	  va_end(args);
	}

	void HAL_UART_RxCpltCallback(UART_HandleTypeDef *huart) {
		UART_Printf("callback");
		HAL_UART_Transmit(&huart3, (uint8_t*)uartData, sizeof(uartData), HAL_MAX_DELAY);
		if (uartData[0] == 'f') {
		  FilterParams newParams = {0.0f, 0.0f, 0.0f};
		  uint8_t channel = 0, filter = 0, freq = 0;

		  sscanf(uartData, "%c,%d,%d,%d,%f,%f", NULL, &channel, &filter, &newParams.centerFrequency, &newParams.gain, &newParams.qFactor);
		  //sscanf(uartData, "%c,%f,%f,%f", NULL, &newParams.centerFrequency, &newParams.qFactor, &newParams.gain);

		  newParams.gain = powf(10.0f, newParams.gain / 20.0f);
		  char printBuffer[64];
		  snprintf(printBuffer, sizeof(printBuffer), "CH: %d\n\r#F: %d\n\rCF: %d \n\rQ: %.5f \n\rGain: %.5f \n\r", channel, filter, newParams.centerFrequency, newParams.qFactor, newParams.gain);

		  // f, #CH, #FILTRO, FREQ, GAIN, Q
		  if (channel == 0) {
			if (filter == 0) {
			  IFX_PeakingFilter_SetParameters(&filt1, newParams.centerFrequency, newParams.qFactor, newParams.gain);
			} else if (filter == 1) {
			  IFX_PeakingFilter_SetParameters(&filt2, newParams.centerFrequency, newParams.qFactor, newParams.gain);
			} else if (filter == 2) {
			  IFX_PeakingFilter_SetParameters(&filt3, newParams.centerFrequency, newParams.qFactor, newParams.gain);
			}
		  } else if (channel == 1) {
		    if (filter == 0) {
		      IFX_PeakingFilter_SetParameters(&filt4, newParams.centerFrequency, newParams.qFactor, newParams.gain);
			} else if (filter == 1) {
		      IFX_PeakingFilter_SetParameters(&filt5, newParams.centerFrequency, newParams.qFactor, newParams.gain);
			} else if (filter == 2) {
			  IFX_PeakingFilter_SetParameters(&filt6, newParams.centerFrequency, newParams.qFactor, newParams.gain);
			}
		  }

		  HAL_UART_Transmit(&huart3, (uint8_t*)printBuffer, strlen(printBuffer), HAL_MAX_DELAY);

		} else if (uartData[0] == 'v') {
		  uint8_t volume = 0, channel = 0;
		  sscanf(uartData, "%c,%d,%d", NULL, &channel, &volume);

		  float normalizedVolume = volume / 100.0f;
		  float volumeMultiplier = powf(10.0f, (normalizedVolume - 1.0f) * 20.0f / 10.0f);

		  char printBuffer[64];
		  snprintf(printBuffer, sizeof(printBuffer), "CH: %d \n\rV: %d \n\r", channel, volumeMultiplier);
		  HAL_UART_Transmit(&huart3, (uint8_t*)printBuffer, strlen(printBuffer), HAL_MAX_DELAY);

		  if (channel == 0) {
			  vch1 = volumeMultiplier;
		  } else if (channel == 1) {
			  vch2 = volumeMultiplier;
		  } else if (channel == 9) {
			  vmaster = volumeMultiplier;
		  }

		}
		HAL_UART_Receive_DMA(&huart2, uartData, sizeof(uartData));
	}

	void HAL_I2SEx_TxRxHalfCpltCallback(I2S_HandleTypeDef *hi2s) {
	  inBufPtr = &adcData[0];
	  outBufPtr = &dacData[0];
	  memcpy(uartBuffer, dacData, sizeof(dacData));

	  if(osSemaphoreRelease(i2sHalfFullHandle) == osOK) {
		//UART_Printf("i2s half released..");
	  } else {
		//UART_Printf("i2s failed..");
	  }
	  dataReadyFlag = 1;
	}

	void HAL_I2SEx_TxRxCpltCallback(I2S_HandleTypeDef *hi2s) {
	  inBufPtr = &adcData[BUFFER_SIZE];
	  outBufPtr = &dacData[BUFFER_SIZE];
	  memcpy(uartBuffer, dacData, sizeof(dacData));

	  if(osSemaphoreRelease(i2sHalfFullHandle) == osOK) {
		//UART_Printf("i2s full released..");
	  } else {
		//UART_Printf("i2s failed..");
	  }
	  dataReadyFlag = 1;
	}

	void processData() {
	  static float leftIn, leftProcessed, leftProcessed2, leftOut;
	  static float rightIn, rightProcessed, rightProcessed2, rightOut;

	  for (uint8_t n = 0; n < (BUFFER_SIZE) - 1; n+=4) {
		// LEFT

		//  CONVERTIR ENTRADA ADC A FLOAT
		leftIn = INT16_TO_FLOAT(inBufPtr[n]);
		if (leftIn > 1.0f) {
		  leftIn -= 2.0f;
		}

		leftProcessed = IFX_PeakingFilter_Update(&filt1, leftIn);

		leftProcessed = IFX_PeakingFilter_Update(&filt2, leftProcessed);

		leftProcessed = IFX_PeakingFilter_Update(&filt3, leftProcessed);

		// OUTPUT LEFT
		leftOut = leftProcessed * vch1 * vmaster;

		// CONVERTIR SALIDA DAC A SIGNED INT
		outBufPtr[n] = (int16_t) (FLOAT_TO_INT16(leftOut));
		outBufPtr[n+1] = 0;//(int16_t) (FLOAT_TO_INT16(leftOut));
		// RIGHT

		//  CONVERTIR ENTRADA ADC A FLOAT
		rightIn = INT16_TO_FLOAT(inBufPtr[n+2]);
		if (rightIn > 1.0f) {
		  rightIn -= 2.0f;
		}

		rightProcessed = IFX_PeakingFilter_Update(&filt1, rightIn);

		rightProcessed = IFX_PeakingFilter_Update(&filt2, rightProcessed);

		rightProcessed = IFX_PeakingFilter_Update(&filt3, rightProcessed);

		// OUTPUT RIGHT
		rightOut = rightProcessed * vch2 * vmaster;

		// CONVERTIR SALIDA DAC A SIGNED INT
		outBufPtr[n+2] = (int16_t) (FLOAT_TO_INT16(rightOut));
		outBufPtr[n+3] = 0;
	  }

		dataReadyFlag = 0;
	}
/* USER CODE END 4 */

void setFilterTask(void *argument)
{
  /* USER CODE BEGIN 5 */
	  /* Infinite loop */
	  for(;;)
	  {

		osThreadYield();
		//IFX_PeakingFilter_SetParameters(&filt1, 1000.0f, hz, 0.0f);
	  }
  /* USER CODE END 5 */
}

void processDataTask(void *argument)
{
  /* USER CODE BEGIN processDataTask */
	  /* Infinite loop */
	  for(;;)
	  {
		if (osSemaphoreAcquire(i2sHalfFullHandle, 0) == osOK) {
		  processData();
		}

		if (osSemaphoreAcquire(i2sHalfFullHandle, 0) == osOK) {
		  processData();
		}

//		if (osSemaphoreAcquire(i2sFullHandle, 0) == osOK) {
//		  processData();
//		}

		osThreadYield();

	  }
  /* USER CODE END processDataTask */
}

/* MPU Configuration */

void MPU_Config(void)
{
  MPU_Region_InitTypeDef MPU_InitStruct = {0};

  /* Disables the MPU */
  HAL_MPU_Disable();

  /** Initializes and configures the Region and the memory to be protected
  */
  MPU_InitStruct.Enable = MPU_REGION_ENABLE;
  MPU_InitStruct.Number = MPU_REGION_NUMBER0;
  MPU_InitStruct.BaseAddress = 0x30010000;
  MPU_InitStruct.Size = MPU_REGION_SIZE_64KB;
  MPU_InitStruct.SubRegionDisable = 0x0;
  MPU_InitStruct.TypeExtField = MPU_TEX_LEVEL0;
  MPU_InitStruct.AccessPermission = MPU_REGION_FULL_ACCESS;
  MPU_InitStruct.DisableExec = MPU_INSTRUCTION_ACCESS_DISABLE;
  MPU_InitStruct.IsShareable = MPU_ACCESS_NOT_SHAREABLE;
  MPU_InitStruct.IsCacheable = MPU_ACCESS_NOT_CACHEABLE;
  MPU_InitStruct.IsBufferable = MPU_ACCESS_BUFFERABLE;

  HAL_MPU_ConfigRegion(&MPU_InitStruct);
  /* Enables the MPU */
  HAL_MPU_Enable(MPU_PRIVILEGED_DEFAULT);

}

void HAL_TIM_PeriodElapsedCallback(TIM_HandleTypeDef *htim)
{
  if (htim->Instance == TIM1) {
    HAL_IncTick();
  }
}

void Error_Handler(void)
{
	  __disable_irq();
	  while (1)
	  {
	  }
}
